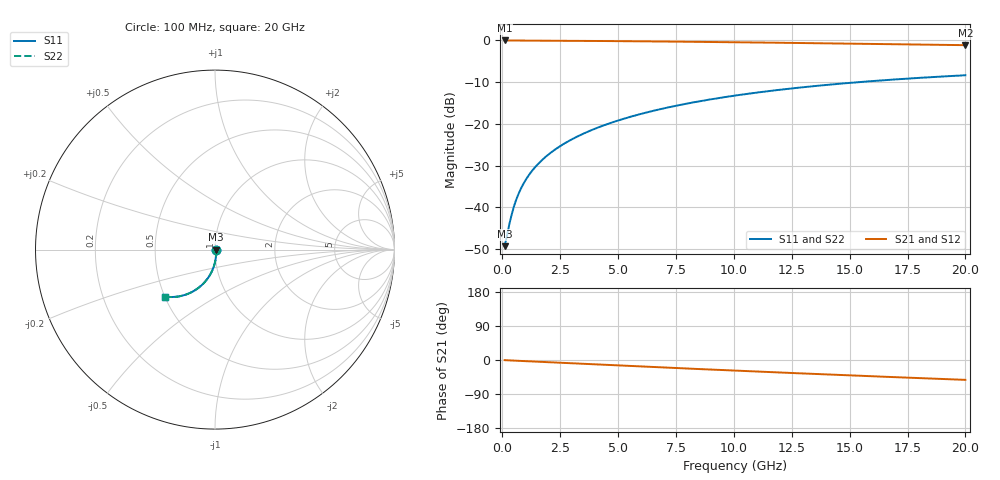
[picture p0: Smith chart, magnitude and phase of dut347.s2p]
! Touchstone file exported from HFSS 2026.1.0
!  File:  C:/ffzhzh/LocalFiles/Ansys_Project_Files/temp_train_BSMRDL_347_1783011323_55676.aedt
!  Generated:  12:57:14 AM Jul  3, 2026
!  Design:  BSMRDL
!  Project:  temp_train_BSMRDL_347_1783011323_55676
! Variables:
!  h_bsmrdl = 3.94um
!  h_ox = 20um
!  h_rdl = 5um
!  h_sub = 80um
!  h_tmrdl = 5um
!  h_tsv = 80um
!  h_via = 3um
!  l_bsmrdl = 819.26um
!  l_sub = 1219.26um
!  l_tmrdl = 200um
!  m_sub = 200um
!  pitch = 27.17um
!  r_tsv = 6um
!  s_tmrdl = 10um
!  w_bsmrdl = 25.99um
!  w_sub = 500um
!  w_tmrdl = 12um
!  x_tsv_center1 = 206um
!  x_tsv_center2 = 1051.25um
!  x_tsv_center3 = 1263.25um
!  x_tsv_center4 = 2108.5um
!  x_tsv_center5 = 2320.5um
!  x_tsv_center6 = 3165.75um
# GHz S MA R 50.000000
! Terminal data exported
! Port[1] = BSM_RDL1_1_T1
! Port[2] = BSM_RDL1_1_T2
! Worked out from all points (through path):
!   200 points, 100 MHz to 20 GHz, reference 50 ohm
!   highest |S21| = -0.03 dB at 100 MHz (marker M1); lowest = -1.2 dB at 20 GHz (marker M2)
!   group delay of S21, straight-line fit = 7.27 ps
!   lowest |S11| = -49.3 dB at 100 MHz (marker M3), VSWR 1.01, Z = 50.3 - j0.105 ohm
!   |S11| at or under -10 dB: start of sweep to 15.43 GHz
!   |S22| runs from -49.3 to -8.4 dB; largest |S21 - S12| = 2.6e-15
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0.1  0.003417 -17.9  0.9967 -0.4  0.9967 -0.4  0.003417 -17.9
! Gamma 0 0 0 0
! Port Impedance 50 0 50 0
0.3  0.006182 -41.8  0.9953 -1.0  0.9953 -1.0  0.006181 -41.8
0.4  0.00809 -49.4  0.9946 -1.3  0.9946 -1.3  0.00809 -49.4
0.5  0.01015 -55.2  0.9939 -1.6  0.9939 -1.6  0.01015 -55.2
0.6  0.01228 -59.9  0.9934 -1.9  0.9934 -1.9  0.01228 -59.9
0.8  0.01664 -66.8  0.9926 -2.5  0.9926 -2.5  0.01664 -66.8
0.9  0.01883 -69.3  0.9923 -2.7  0.9923 -2.7  0.01884 -69.3
1.1  0.02323 -73.4  0.9918 -3.3  0.9918 -3.3  0.02323 -73.4
1.3  0.02763 -76.4  0.9913 -3.9  0.9913 -3.9  0.02763 -76.4
1.5  0.03202 -78.9  0.9908 -4.4  0.9908 -4.4  0.03202 -78.8
1.8  0.03861 -81.7  0.9901 -5.3  0.9901 -5.3  0.03861 -81.7
2.1  0.04521 -83.9  0.9894 -6.2  0.9894 -6.2  0.04521 -83.9
2.7  0.05843 -87.4  0.9876 -7.9  0.9876 -7.9  0.05844 -87.4
3.5  0.07614 -91.0  0.9849 -10.1  0.9849 -10.1  0.07615 -91.0
4.2  0.09169 -93.6  0.9821 -12.1  0.9821 -12.1  0.0917 -93.6
5  0.1095 -96.3  0.9785 -14.3  0.9785 -14.3  0.1095 -96.3
6.8  0.1492 -102.0  0.9692 -19.3  0.9692 -19.3  0.1492 -101.9
8.4  0.1836 -106.7  0.9597 -23.6  0.9597 -23.6  0.1837 -106.7
10.1  0.2188 -111.5  0.9487 -28.1  0.9487 -28.1  0.2188 -111.5
13.4  0.2817 -120.4  0.9252 -36.6  0.9252 -36.6  0.2817 -120.4
16.7  0.3361 -128.8  0.9003 -44.7  0.9003 -44.7  0.3361 -128.7
20  0.3814 -136.6  0.8753 -52.4  0.8753 -52.4  0.3814 -136.5
